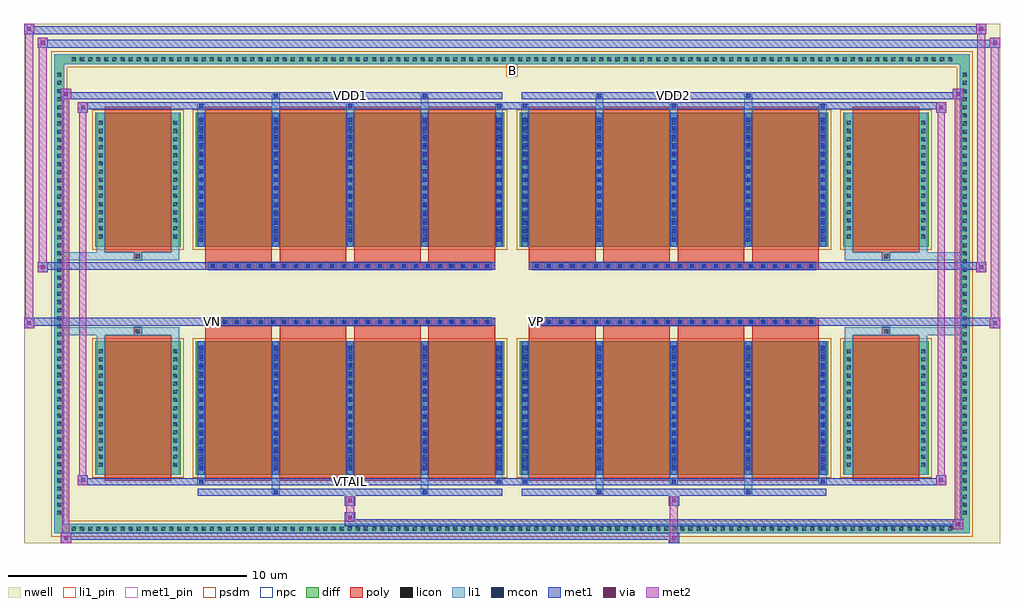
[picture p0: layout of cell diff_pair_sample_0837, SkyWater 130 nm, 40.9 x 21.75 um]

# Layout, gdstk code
import gdstk
lib = gdstk.Library(unit=1e-6, precision=5e-09)
def R(c, l, rs):  # rectangles x0, y0, x1, y1
    for r in rs: c.add(gdstk.rectangle(r[:2], r[2:], *l))
def A(c, l, x, y, w, h, nx, ny, dx, dy):  # array of equal rectangles
    R(c, l, [(x+i*dx, y+j*dy, x+i*dx+w, y+j*dy+h) for i in range(nx) for j in range(ny)])
def P(c, l, *ps):  # polygons
    for p in ps: c.add(gdstk.Polygon(p, *l))
nwell = (64, 20)
diff = (65, 20)
poly = (66, 20)
licon = (66, 44)
li1_pin = (67, 16)
li1 = (67, 20)
mcon = (67, 44)
met1_pin = (68, 16)
met1 = (68, 20)
via = (68, 44)
met2 = (69, 20)
psdm = (94, 20)
npc = (95, 20)

diff_pair_sample_0837 = lib.new_cell('diff_pair_sample_0837')
R(diff_pair_sample_0837, nwell, [(-20.45,-10.44,20.45,11.31), (-17.77,-8.63,-0.01,-0.805), (0.01,-8.63,17.77,-0.805), (-17.77,0.805,-0.01,8.63), (0.01,0.805,17.77,8.63)])
A(diff_pair_sample_0837, diff, -18.565, -10.04, 0.41, 0.41, 109, 2, 0.34, 19.67)
A(diff_pair_sample_0837, diff, -19.18, -9.385, 0.41, 0.41, 1, 55, 0, 0.34)
A(diff_pair_sample_0837, diff, 18.77, -9.385, 0.41, 0.41, 1, 55, 0, 0.34)
R(diff_pair_sample_0837, diff, [(-18.565,-10.04,18.565,-9.63), (-19.18,-9.385,-18.77,9.385), (18.77,-9.385,19.18,9.385), (-17.46,-7.585,-13.89,-1.985), (-13.25,-7.585,-0.32,-1.985), (0.32,-7.585,13.25,-1.985), (13.89,-7.585,17.46,-1.985), (-17.46,1.985,-13.89,7.585), (-13.25,1.985,-0.32,7.585), (0.32,1.985,13.25,7.585), (13.89,1.985,17.46,7.585), (-18.565,9.63,18.565,10.04)])
P(diff_pair_sample_0837, diff, [(19.18,10.04),(-19.18,10.04),(-19.18,-9.63),(-18.77,-9.63),(-18.77,9.63),(18.77,9.63),(18.77,-9.63),(-18.77,-9.63),(-19.18,-9.63),(-19.18,-10.04),(19.18,-10.04)])
A(diff_pair_sample_0837, poly, -12.86, -7.835, 2.79, 6.1, 4, 2, 3.12, 9.57)
A(diff_pair_sample_0837, poly, 0.71, -7.835, 2.79, 6.1, 4, 2, 3.12, 9.57)
A(diff_pair_sample_0837, poly, -12.86, -1.735, 2.79, 0.4, 4, 2, 3.12, 3.07)
A(diff_pair_sample_0837, poly, 0.71, -1.735, 2.79, 0.4, 4, 2, 3.12, 3.07)
A(diff_pair_sample_0837, poly, -12.7, -1.335, 0.33, 0.33, 24, 2, 0.5, 2.34)
A(diff_pair_sample_0837, poly, 0.87, -1.335, 0.33, 0.33, 24, 2, 0.5, 2.34)
R(diff_pair_sample_0837, poly, [(-17.07,-7.835,-14.28,-1.735), (14.28,-7.835,17.07,-1.735), (-15.84,-1.735,-15.51,-1.405), (-15.84,-1.735,-15.51,-1.405), (15.51,-1.735,15.84,-1.405), (15.51,-1.735,15.84,-1.405), (-12.86,-1.335,-0.71,-1.005), (0.71,-1.335,12.86,-1.005), (-12.86,1.005,-0.71,1.335), (0.71,1.005,12.86,1.335), (-15.84,1.405,-15.51,1.735), (-15.84,1.405,-15.51,1.735), (15.51,1.405,15.84,1.735), (15.51,1.405,15.84,1.735), (-17.07,1.735,-14.28,7.835), (14.28,1.735,17.07,7.835)])
A(diff_pair_sample_0837, licon, -18.445, -9.92, 0.17, 0.17, 109, 2, 0.34, 19.67)
A(diff_pair_sample_0837, licon, -19.06, -9.265, 0.17, 0.17, 1, 55, 0, 0.34)
A(diff_pair_sample_0837, licon, 18.89, -9.265, 0.17, 0.17, 1, 55, 0, 0.34)
A(diff_pair_sample_0837, licon, -17.32, -7.25, 0.17, 0.17, 1, 15, 0, 0.34)
A(diff_pair_sample_0837, licon, -14.2, -7.25, 0.17, 0.17, 1, 15, 0, 0.34)
A(diff_pair_sample_0837, licon, -13.11, -7.25, 0.17, 0.17, 5, 15, 3.12, 0.34)
A(diff_pair_sample_0837, licon, 0.46, -7.25, 0.17, 0.17, 5, 15, 3.12, 0.34)
A(diff_pair_sample_0837, licon, 14.03, -7.25, 0.17, 0.17, 1, 15, 0, 0.34)
A(diff_pair_sample_0837, licon, 17.15, -7.25, 0.17, 0.17, 1, 15, 0, 0.34)
A(diff_pair_sample_0837, licon, -12.62, -1.255, 0.17, 0.17, 24, 2, 0.5, 2.34)
A(diff_pair_sample_0837, licon, 0.95, -1.255, 0.17, 0.17, 24, 2, 0.5, 2.34)
A(diff_pair_sample_0837, licon, -17.32, 2.32, 0.17, 0.17, 1, 15, 0, 0.34)
A(diff_pair_sample_0837, licon, -14.2, 2.32, 0.17, 0.17, 1, 15, 0, 0.34)
A(diff_pair_sample_0837, licon, -13.11, 2.32, 0.17, 0.17, 5, 15, 3.12, 0.34)
A(diff_pair_sample_0837, licon, 0.46, 2.32, 0.17, 0.17, 5, 15, 3.12, 0.34)
A(diff_pair_sample_0837, licon, 14.03, 2.32, 0.17, 0.17, 1, 15, 0, 0.34)
A(diff_pair_sample_0837, licon, 17.15, 2.32, 0.17, 0.17, 1, 15, 0, 0.34)
R(diff_pair_sample_0837, licon, [(-15.76,-1.655,-15.59,-1.485), (15.59,-1.655,15.76,-1.485), (-15.76,1.485,-15.59,1.655), (15.59,1.485,15.76,1.655)])
R(diff_pair_sample_0837, li1_pin, [(-0.25,9.13,0.25,9.63)])
A(diff_pair_sample_0837, li1, -18.525, -10, 0.33, 0.33, 109, 2, 0.34, 19.67)
A(diff_pair_sample_0837, li1, -19.14, -9.345, 0.33, 0.33, 1, 55, 0, 0.34)
A(diff_pair_sample_0837, li1, 18.81, -9.345, 0.33, 0.33, 1, 55, 0, 0.34)
A(diff_pair_sample_0837, li1, -13.19, -7.96, 0.33, 0.375, 3, 2, 6.24, 15.545)
A(diff_pair_sample_0837, li1, -13.11, -7.96, 0.17, 0.17, 3, 2, 6.24, 15.75)
A(diff_pair_sample_0837, li1, 0.38, -7.96, 0.33, 0.375, 3, 2, 6.24, 15.545)
A(diff_pair_sample_0837, li1, 0.46, -7.96, 0.17, 0.17, 3, 2, 6.24, 15.75)
A(diff_pair_sample_0837, li1, -13.19, -7.585, 0.33, 5.6, 5, 2, 3.12, 9.57)
A(diff_pair_sample_0837, li1, 0.38, -7.585, 0.33, 5.6, 5, 2, 3.12, 9.57)
A(diff_pair_sample_0837, li1, -13.11, -7.39, 0.17, 0.17, 5, 15, 3.12, 0.36)
A(diff_pair_sample_0837, li1, -13.11, -7.39, 0.17, 5.21, 5, 2, 3.12, 9.57)
A(diff_pair_sample_0837, li1, 0.46, -7.39, 0.17, 0.17, 5, 15, 3.12, 0.36)
A(diff_pair_sample_0837, li1, 0.46, -7.39, 0.17, 5.21, 5, 2, 3.12, 9.57)
A(diff_pair_sample_0837, li1, -17.4, -7.33, 0.33, 0.33, 1, 15, 0, 0.34)
A(diff_pair_sample_0837, li1, -14.28, -7.33, 0.33, 0.33, 1, 15, 0, 0.34)
A(diff_pair_sample_0837, li1, -13.19, -7.33, 0.33, 0.33, 5, 15, 3.12, 0.34)
A(diff_pair_sample_0837, li1, 0.38, -7.33, 0.33, 0.33, 5, 15, 3.12, 0.34)
A(diff_pair_sample_0837, li1, 13.95, -7.33, 0.33, 0.33, 1, 15, 0, 0.34)
A(diff_pair_sample_0837, li1, 17.07, -7.33, 0.33, 0.33, 1, 15, 0, 0.34)
A(diff_pair_sample_0837, li1, -12.7, -1.335, 0.33, 0.33, 24, 2, 0.5, 2.34)
A(diff_pair_sample_0837, li1, 0.87, -1.335, 0.33, 0.33, 24, 2, 0.5, 2.34)
A(diff_pair_sample_0837, li1, -13.11, 2.18, 0.17, 0.17, 5, 15, 3.12, 0.36)
A(diff_pair_sample_0837, li1, 0.46, 2.18, 0.17, 0.17, 5, 15, 3.12, 0.36)
A(diff_pair_sample_0837, li1, -17.4, 2.24, 0.33, 0.33, 1, 15, 0, 0.34)
A(diff_pair_sample_0837, li1, -14.28, 2.24, 0.33, 0.33, 1, 15, 0, 0.34)
A(diff_pair_sample_0837, li1, -13.19, 2.24, 0.33, 0.33, 5, 15, 3.12, 0.34)
A(diff_pair_sample_0837, li1, 0.38, 2.24, 0.33, 0.33, 5, 15, 3.12, 0.34)
A(diff_pair_sample_0837, li1, 13.95, 2.24, 0.33, 0.33, 1, 15, 0, 0.34)
A(diff_pair_sample_0837, li1, 17.07, 2.24, 0.33, 0.33, 1, 15, 0, 0.34)
R(diff_pair_sample_0837, li1, [(-19.18,-10.04,-18.77,-9.63), (-19.18,-10.04,-18.77,-9.63), (-18.77,-10.04,18.77,-9.63), (18.77,-10.04,19.18,-9.63), (18.77,-10.04,19.18,-9.63), (-19.18,-9.63,-18.77,9.63), (18.77,-9.63,19.18,9.63), (-10.07,-8.39,-9.74,-7.585), (-9.99,-8.39,-9.82,-8.22), (-3.83,-8.39,-3.5,-7.585), (-3.75,-8.39,-3.58,-8.22), (3.5,-8.39,3.83,-7.585), (3.58,-8.39,3.75,-8.22), (9.74,-8.39,10.07,-7.585), (9.82,-8.39,9.99,-8.22), (-17.4,-7.585,-17.07,-1.985), (-14.28,-7.585,-13.95,-1.985), (13.95,-7.585,14.28,-1.985), (17.07,-7.585,17.4,-1.985), (-17.4,-1.985,-17.07,-1.405), (-14.28,-1.985,-13.95,-1.405), (13.95,-1.985,14.28,-1.405), (17.07,-1.985,17.4,-1.405), (-19.18,-1.735,-15.84,-1.405), (-17.4,-1.735,-15.84,-1.405), (-15.84,-1.735,-15.51,-1.405), (-15.51,-1.735,-13.95,-1.405), (13.95,-1.735,15.51,-1.405), (15.51,-1.735,15.84,-1.405), (15.51,-1.735,19.18,-1.405), (15.84,-1.735,17.4,-1.405), (-19.18,1.405,-15.84,1.735), (-17.4,1.405,-15.84,1.735), (-17.4,1.405,-17.07,1.985), (-15.84,1.405,-15.51,1.735), (-15.51,1.405,-13.95,1.735), (-14.28,1.405,-13.95,1.985), (13.95,1.405,15.51,1.735), (13.95,1.405,14.28,1.985), (15.51,1.405,15.84,1.735), (15.51,1.405,19.18,1.735), (15.84,1.405,17.4,1.735), (17.07,1.405,17.4,1.985), (-17.4,1.985,-17.07,7.585), (-14.28,1.985,-13.95,7.585), (13.95,1.985,14.28,7.585), (17.07,1.985,17.4,7.585), (-10.07,7.585,-9.74,8.39), (-3.83,7.585,-3.5,8.39), (3.5,7.585,3.83,8.39), (9.74,7.585,10.07,8.39), (-9.99,8.22,-9.82,8.39), (-3.75,8.22,-3.58,8.39), (3.58,8.22,3.75,8.39), (9.82,8.22,9.99,8.39), (-19.18,9.63,-18.77,10.04), (-19.18,9.63,-18.77,10.04), (-18.77,9.63,18.77,10.04), (18.77,9.63,19.18,10.04), (18.77,9.63,19.18,10.04)])
A(diff_pair_sample_0837, mcon, -13.11, -7.96, 0.17, 0.17, 3, 2, 6.24, 15.75)
A(diff_pair_sample_0837, mcon, 0.46, -7.96, 0.17, 0.17, 3, 2, 6.24, 15.75)
A(diff_pair_sample_0837, mcon, -13.11, -7.39, 0.17, 0.17, 5, 15, 3.12, 0.36)
A(diff_pair_sample_0837, mcon, 0.46, -7.39, 0.17, 0.17, 5, 15, 3.12, 0.36)
A(diff_pair_sample_0837, mcon, -12.62, -1.255, 0.17, 0.17, 24, 2, 0.5, 2.34)
A(diff_pair_sample_0837, mcon, 0.95, -1.255, 0.17, 0.17, 24, 2, 0.5, 2.34)
A(diff_pair_sample_0837, mcon, -13.11, 2.18, 0.17, 0.17, 5, 15, 3.12, 0.36)
A(diff_pair_sample_0837, mcon, 0.46, 2.18, 0.17, 0.17, 5, 15, 3.12, 0.36)
R(diff_pair_sample_0837, mcon, [(-9.99,-8.39,-9.82,-8.22), (-3.75,-8.39,-3.58,-8.22), (3.58,-8.39,3.75,-8.22), (9.82,-8.39,9.99,-8.22), (-9.99,8.22,-9.82,8.39), (-3.75,8.22,-3.58,8.39), (3.58,8.22,3.75,8.39), (9.82,8.22,9.99,8.39)])
R(diff_pair_sample_0837, met1_pin, [(-6.92,-8,-6.65,-7.73), (-12.67,-1.295,-12.4,-1.025), (0.9,-1.295,1.17,-1.025), (-6.92,8.18,-6.65,8.45), (6.65,8.18,6.92,8.45)])
A(diff_pair_sample_0837, met1, -13.17, -8.02, 0.29, 0.29, 3, 2, 6.24, 15.75)
A(diff_pair_sample_0837, met1, 0.4, -8.02, 0.29, 0.29, 3, 2, 6.24, 15.75)
A(diff_pair_sample_0837, met1, -13.17, -7.585, 0.29, 5.6, 5, 2, 3.12, 9.57)
A(diff_pair_sample_0837, met1, 0.4, -7.585, 0.29, 5.6, 5, 2, 3.12, 9.57)
A(diff_pair_sample_0837, met1, -13.17, -7.45, 0.29, 0.29, 5, 15, 3.12, 0.36)
A(diff_pair_sample_0837, met1, 0.4, -7.45, 0.29, 0.29, 5, 15, 3.12, 0.36)
A(diff_pair_sample_0837, met1, -12.68, -1.315, 0.29, 0.29, 24, 2, 0.5, 2.34)
A(diff_pair_sample_0837, met1, 0.89, -1.315, 0.29, 0.29, 24, 2, 0.5, 2.34)
A(diff_pair_sample_0837, met1, -13.17, 2.12, 0.29, 0.29, 5, 15, 3.12, 0.36)
A(diff_pair_sample_0837, met1, 0.4, 2.12, 0.29, 0.29, 5, 15, 3.12, 0.36)
R(diff_pair_sample_0837, met1, [(-18.91,-10.44,-18.48,-10.01), (6.57,-10.44,7,-10.01), (-18.91,-10.3,7,-10.01), (18.48,-9.87,18.91,-9.44), (-7,-9.73,18.91,-9.44), (-7,-9.59,-6.57,-9.16), (-7,-8.88,-6.57,-8.45), (6.57,-8.88,7,-8.45), (-13.17,-8.45,-0.4,-8.16), (-10.05,-8.45,-9.76,-8.16), (-3.81,-8.45,-3.52,-8.16), (0.4,-8.45,13.17,-8.16), (3.52,-8.45,3.81,-8.16), (9.76,-8.45,10.05,-8.16), (-18.2,-8.02,-17.77,-7.59), (-18.2,-8.02,-13.17,-7.73), (-13.17,-8.02,-0.4,-7.73), (-0.4,-8.02,0.4,-7.73), (0.4,-8.02,13.17,-7.73), (13.17,-8.02,18.2,-7.73), (17.77,-8.02,18.2,-7.59), (-20.45,-1.435,-20.02,-1.005), (20.02,-1.435,20.45,-1.005), (-20.45,-1.335,-0.71,-1.005), (-12.86,-1.335,-0.71,-1.005), (0.71,-1.335,12.86,-1.005), (0.71,-1.335,20.45,-1.005), (-19.88,0.905,-19.45,1.335), (19.45,0.905,19.88,1.335), (-19.88,1.005,-12.86,1.335), (-12.86,1.005,-0.71,1.335), (0.71,1.005,12.86,1.335), (12.86,1.005,19.88,1.335), (-18.2,7.59,-17.77,8.02), (17.77,7.59,18.2,8.02), (-18.2,7.73,-13.17,8.02), (-13.17,7.73,-0.4,8.02), (-0.4,7.73,0.4,8.02), (0.4,7.73,13.17,8.02), (13.17,7.73,18.2,8.02), (-18.91,8.16,-18.48,8.59), (-18.91,8.16,-13.17,8.45), (-13.17,8.16,-0.4,8.45), (-10.05,8.16,-9.76,8.45), (-3.81,8.16,-3.52,8.45), (0.4,8.16,13.17,8.45), (3.52,8.16,3.81,8.45), (9.76,8.16,10.05,8.45), (13.17,8.16,18.91,8.45), (18.48,8.16,18.91,8.59), (-19.88,10.31,-19.45,10.74), (-19.88,10.31,-17.77,10.64), (-17.77,10.31,17.77,10.64), (17.77,10.31,20.45,10.64), (20.02,10.31,20.45,10.74), (-20.45,10.88,-20.02,11.31), (-20.45,10.88,-17.77,11.21), (-17.77,10.88,17.77,11.21), (17.77,10.88,19.88,11.21), (19.45,10.88,19.88,11.31)])
R(diff_pair_sample_0837, via, [(-18.77,-10.3,-18.62,-10.15), (6.71,-10.3,6.86,-10.15), (18.62,-9.73,18.77,-9.58), (-6.86,-9.45,-6.71,-9.3), (-6.86,-8.74,-6.71,-8.59), (6.71,-8.74,6.86,-8.59), (-18.06,-7.88,-17.91,-7.73), (17.91,-7.88,18.06,-7.73), (-20.31,-1.295,-20.16,-1.145), (20.16,-1.295,20.31,-1.145), (-19.74,1.045,-19.59,1.195), (19.59,1.045,19.74,1.195), (-18.06,7.73,-17.91,7.88), (17.91,7.73,18.06,7.88), (-18.77,8.3,-18.62,8.45), (18.62,8.3,18.77,8.45), (-19.74,10.45,-19.59,10.6), (20.16,10.45,20.31,10.6), (-20.31,11.02,-20.16,11.17), (19.59,11.02,19.74,11.17)])
R(diff_pair_sample_0837, met2, [(-18.91,-10.44,-18.48,-10.01), (-18.84,-10.44,-18.55,8.59), (-18.55,-10.44,-18.48,-10.01), (-18.86,-10.39,-18.53,-10.06), (6.62,-10.39,6.95,-10.06), (6.62,-10.06,6.95,-8.83), (18.48,-9.87,18.91,-9.44), (18.55,-9.87,18.84,8.59), (18.84,-9.87,18.91,-9.44), (18.53,-9.82,18.86,-9.49), (-6.95,-9.54,-6.62,-9.21), (-6.95,-9.21,-6.62,-8.83), (-6.95,-8.83,-6.62,-8.5), (6.62,-8.83,6.95,-8.5), (-18.2,-8.02,-17.77,-7.59), (-18.13,-8.02,-17.84,8.02), (-17.84,-8.02,-17.77,-7.59), (17.77,-8.02,18.2,-7.59), (17.84,-8.02,18.13,8.02), (18.13,-8.02,18.2,-7.59), (-18.15,-7.97,-17.82,-7.64), (17.82,-7.97,18.15,-7.64), (-20.45,-1.435,-20.02,-1.005), (-20.4,-1.435,-20.07,11.31), (-20.07,-1.435,-20.02,-1.005), (20.02,-1.435,20.45,-1.005), (20.07,-1.435,20.4,10.74), (20.4,-1.435,20.45,-1.005), (-20.4,-1.385,-20.07,-1.055), (20.07,-1.385,20.4,-1.055), (-19.88,0.905,-19.45,1.335), (-19.83,0.905,-19.5,10.74), (-19.5,0.905,-19.45,1.335), (19.45,0.905,19.88,1.335), (19.5,0.905,19.83,11.31), (19.83,0.905,19.88,1.335), (-19.83,0.955,-19.5,1.285), (19.5,0.955,19.83,1.285), (-18.2,7.59,-17.77,8.02), (-17.84,7.59,-17.77,8.02), (17.77,7.59,18.2,8.02), (18.13,7.59,18.2,8.02), (-18.15,7.64,-17.82,7.97), (17.82,7.64,18.15,7.97), (-18.91,8.16,-18.48,8.59), (-18.55,8.16,-18.48,8.59), (18.48,8.16,18.91,8.59), (18.84,8.16,18.91,8.59), (-18.86,8.21,-18.53,8.54), (18.53,8.21,18.86,8.54), (-19.88,10.31,-19.45,10.74), (-19.5,10.31,-19.45,10.74), (20.02,10.31,20.45,10.74), (20.4,10.31,20.45,10.74), (-19.83,10.36,-19.5,10.69), (20.07,10.36,20.4,10.69), (-20.45,10.88,-20.02,11.31), (-20.07,10.88,-20.02,11.31), (19.45,10.88,19.88,11.31), (19.83,10.88,19.88,11.31), (-20.4,10.93,-20.07,11.26), (19.5,10.93,19.83,11.26)])
R(diff_pair_sample_0837, psdm, [(-17.59,-7.715,-13.76,-1.855), (-13.38,-7.715,-0.19,-1.855), (0.19,-7.715,13.38,-1.855), (13.76,-7.715,17.59,-1.855), (-17.59,1.855,-13.76,7.715), (-13.38,1.855,-0.19,7.715), (0.19,1.855,13.38,7.715), (13.76,1.855,17.59,7.715)])
P(diff_pair_sample_0837, psdm, [(19.31,10.17),(-19.31,10.17),(-19.31,-9.5),(-18.64,-9.5),(-18.64,9.5),(18.64,9.5),(18.64,-9.5),(-18.64,-9.5),(-19.31,-9.5),(-19.31,-10.17),(19.31,-10.17)])
A(diff_pair_sample_0837, npc, -12.72, -1.355, 0.37, 0.37, 24, 2, 0.5, 2.34)
A(diff_pair_sample_0837, npc, 0.85, -1.355, 0.37, 0.37, 24, 2, 0.5, 2.34)
R(diff_pair_sample_0837, npc, [(-15.86,-1.755,-15.49,-1.385), (15.49,-1.755,15.86,-1.385), (-12.72,-1.355,-11.85,-0.985), (-12.72,-1.355,-11.85,-0.985), (-12.22,-1.355,-11.35,-0.985), (-12.22,-1.355,-11.35,-0.985), (-11.72,-1.355,-10.85,-0.985), (-11.72,-1.355,-10.85,-0.985), (-11.22,-1.355,-10.35,-0.985), (-11.22,-1.355,-10.35,-0.985), (-10.72,-1.355,-9.85,-0.985), (-10.72,-1.355,-9.85,-0.985), (-10.22,-1.355,-9.35,-0.985), (-10.22,-1.355,-9.35,-0.985), (-9.72,-1.355,-8.85,-0.985), (-9.72,-1.355,-8.85,-0.985), (-9.22,-1.355,-8.35,-0.985), (-9.22,-1.355,-8.35,-0.985), (-8.72,-1.355,-7.85,-0.985), (-8.72,-1.355,-7.85,-0.985), (-8.22,-1.355,-7.35,-0.985), (-8.22,-1.355,-7.35,-0.985), (-7.72,-1.355,-6.85,-0.985), (-7.72,-1.355,-6.85,-0.985), (-7.22,-1.355,-6.35,-0.985), (-7.22,-1.355,-6.35,-0.985), (-6.72,-1.355,-5.85,-0.985), (-6.72,-1.355,-5.85,-0.985), (-6.22,-1.355,-5.35,-0.985), (-6.22,-1.355,-5.35,-0.985), (-5.72,-1.355,-4.85,-0.985), (-5.72,-1.355,-4.85,-0.985), (-5.22,-1.355,-4.35,-0.985), (-5.22,-1.355,-4.35,-0.985), (-4.72,-1.355,-3.85,-0.985), (-4.72,-1.355,-3.85,-0.985), (-4.22,-1.355,-3.35,-0.985), (-4.22,-1.355,-3.35,-0.985), (-3.72,-1.355,-2.85,-0.985), (-3.72,-1.355,-2.85,-0.985), (-3.22,-1.355,-2.35,-0.985), (-3.22,-1.355,-2.35,-0.985), (-2.72,-1.355,-1.85,-0.985), (-2.72,-1.355,-1.85,-0.985), (-2.22,-1.355,-1.35,-0.985), (-2.22,-1.355,-1.35,-0.985), (-1.72,-1.355,-0.85,-0.985), (-1.72,-1.355,-0.85,-0.985), (0.85,-1.355,1.72,-0.985), (0.85,-1.355,1.72,-0.985), (1.35,-1.355,2.22,-0.985), (1.35,-1.355,2.22,-0.985), (1.85,-1.355,2.72,-0.985), (1.85,-1.355,2.72,-0.985), (2.35,-1.355,3.22,-0.985), (2.35,-1.355,3.22,-0.985), (2.85,-1.355,3.72,-0.985), (2.85,-1.355,3.72,-0.985), (3.35,-1.355,4.22,-0.985), (3.35,-1.355,4.22,-0.985), (3.85,-1.355,4.72,-0.985), (3.85,-1.355,4.72,-0.985), (4.35,-1.355,5.22,-0.985), (4.35,-1.355,5.22,-0.985), (4.85,-1.355,5.72,-0.985), (4.85,-1.355,5.72,-0.985), (5.35,-1.355,6.22,-0.985), (5.35,-1.355,6.22,-0.985), (5.85,-1.355,6.72,-0.985), (5.85,-1.355,6.72,-0.985), (6.35,-1.355,7.22,-0.985), (6.35,-1.355,7.22,-0.985), (6.85,-1.355,7.72,-0.985), (6.85,-1.355,7.72,-0.985), (7.35,-1.355,8.22,-0.985), (7.35,-1.355,8.22,-0.985), (7.85,-1.355,8.72,-0.985), (7.85,-1.355,8.72,-0.985), (8.35,-1.355,9.22,-0.985), (8.35,-1.355,9.22,-0.985), (8.85,-1.355,9.72,-0.985), (8.85,-1.355,9.72,-0.985), (9.35,-1.355,10.22,-0.985), (9.35,-1.355,10.22,-0.985), (9.85,-1.355,10.72,-0.985), (9.85,-1.355,10.72,-0.985), (10.35,-1.355,11.22,-0.985), (10.35,-1.355,11.22,-0.985), (10.85,-1.355,11.72,-0.985), (10.85,-1.355,11.72,-0.985), (11.35,-1.355,12.22,-0.985), (11.35,-1.355,12.22,-0.985), (11.85,-1.355,12.72,-0.985), (11.85,-1.355,12.72,-0.985), (-12.72,0.985,-11.85,1.355), (-12.72,0.985,-11.85,1.355), (-12.22,0.985,-11.35,1.355), (-12.22,0.985,-11.35,1.355), (-11.72,0.985,-10.85,1.355), (-11.72,0.985,-10.85,1.355), (-11.22,0.985,-10.35,1.355), (-11.22,0.985,-10.35,1.355), (-10.72,0.985,-9.85,1.355), (-10.72,0.985,-9.85,1.355), (-10.22,0.985,-9.35,1.355), (-10.22,0.985,-9.35,1.355), (-9.72,0.985,-8.85,1.355), (-9.72,0.985,-8.85,1.355), (-9.22,0.985,-8.35,1.355), (-9.22,0.985,-8.35,1.355), (-8.72,0.985,-7.85,1.355), (-8.72,0.985,-7.85,1.355), (-8.22,0.985,-7.35,1.355), (-8.22,0.985,-7.35,1.355), (-7.72,0.985,-6.85,1.355), (-7.72,0.985,-6.85,1.355), (-7.22,0.985,-6.35,1.355), (-7.22,0.985,-6.35,1.355), (-6.72,0.985,-5.85,1.355), (-6.72,0.985,-5.85,1.355), (-6.22,0.985,-5.35,1.355), (-6.22,0.985,-5.35,1.355), (-5.72,0.985,-4.85,1.355), (-5.72,0.985,-4.85,1.355), (-5.22,0.985,-4.35,1.355), (-5.22,0.985,-4.35,1.355), (-4.72,0.985,-3.85,1.355), (-4.72,0.985,-3.85,1.355), (-4.22,0.985,-3.35,1.355), (-4.22,0.985,-3.35,1.355), (-3.72,0.985,-2.85,1.355), (-3.72,0.985,-2.85,1.355), (-3.22,0.985,-2.35,1.355), (-3.22,0.985,-2.35,1.355), (-2.72,0.985,-1.85,1.355), (-2.72,0.985,-1.85,1.355), (-2.22,0.985,-1.35,1.355), (-2.22,0.985,-1.35,1.355), (-1.72,0.985,-0.85,1.355), (-1.72,0.985,-0.85,1.355), (0.85,0.985,1.72,1.355), (0.85,0.985,1.72,1.355), (1.35,0.985,2.22,1.355), (1.35,0.985,2.22,1.355), (1.85,0.985,2.72,1.355), (1.85,0.985,2.72,1.355), (2.35,0.985,3.22,1.355), (2.35,0.985,3.22,1.355), (2.85,0.985,3.72,1.355), (2.85,0.985,3.72,1.355), (3.35,0.985,4.22,1.355), (3.35,0.985,4.22,1.355), (3.85,0.985,4.72,1.355), (3.85,0.985,4.72,1.355), (4.35,0.985,5.22,1.355), (4.35,0.985,5.22,1.355), (4.85,0.985,5.72,1.355), (4.85,0.985,5.72,1.355), (5.35,0.985,6.22,1.355), (5.35,0.985,6.22,1.355), (5.85,0.985,6.72,1.355), (5.85,0.985,6.72,1.355), (6.35,0.985,7.22,1.355), (6.35,0.985,7.22,1.355), (6.85,0.985,7.72,1.355), (6.85,0.985,7.72,1.355), (7.35,0.985,8.22,1.355), (7.35,0.985,8.22,1.355), (7.85,0.985,8.72,1.355), (7.85,0.985,8.72,1.355), (8.35,0.985,9.22,1.355), (8.35,0.985,9.22,1.355), (8.85,0.985,9.72,1.355), (8.85,0.985,9.72,1.355), (9.35,0.985,10.22,1.355), (9.35,0.985,10.22,1.355), (9.85,0.985,10.72,1.355), (9.85,0.985,10.72,1.355), (10.35,0.985,11.22,1.355), (10.35,0.985,11.22,1.355), (10.85,0.985,11.72,1.355), (10.85,0.985,11.72,1.355), (11.35,0.985,12.22,1.355), (11.35,0.985,12.22,1.355), (11.85,0.985,12.72,1.355), (11.85,0.985,12.72,1.355), (-15.86,1.385,-15.49,1.755), (15.49,1.385,15.86,1.755)])
diff_pair_sample_0837.add(gdstk.Label('VTAIL', (-6.785,-7.865), layer=68, texttype=5))
diff_pair_sample_0837.add(gdstk.Label('VN', (-12.535,-1.16), layer=68, texttype=5))
diff_pair_sample_0837.add(gdstk.Label('VP', (1.035,-1.16), layer=68, texttype=5))
diff_pair_sample_0837.add(gdstk.Label('B', (0,9.38), layer=67, texttype=5))
diff_pair_sample_0837.add(gdstk.Label('VDD2', (6.785,8.315), layer=68, texttype=5))
diff_pair_sample_0837.add(gdstk.Label('VDD1', (-6.785,8.315), layer=68, texttype=5))

lib.write_gds('diff_pair_sample_0837.gds')
